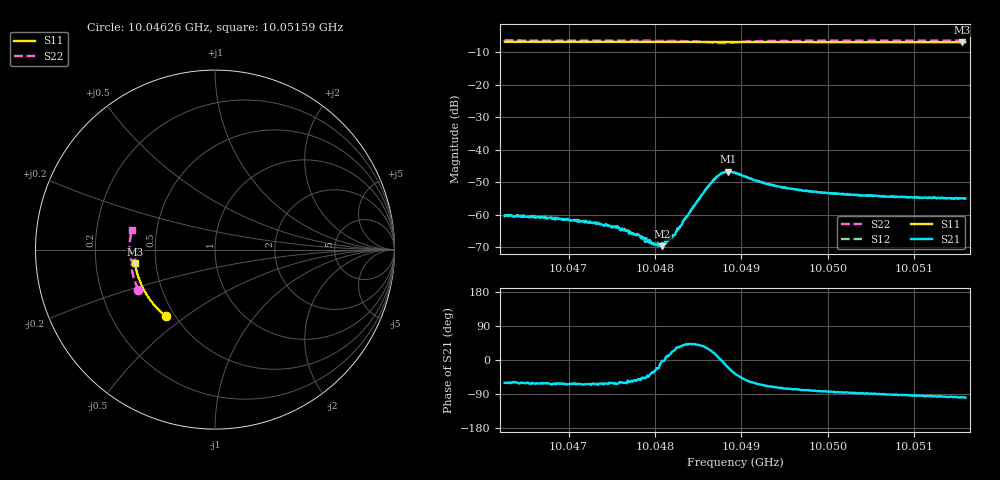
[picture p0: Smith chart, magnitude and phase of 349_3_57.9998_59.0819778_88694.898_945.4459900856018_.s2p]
#  HZ  S  RI  R  50.00
! Rohde & Schwarz Vector Network Analyzer
! Rohde-Schwarz,ZNB20-2Port,1311601062101988,3.16
! Created: UTC 3/21/2024, 1:05:57 AM
! freq[Hz]  re:S11  im:S11  re:S21  im:S21  re:S12  im:S12  re:S22  im:S22
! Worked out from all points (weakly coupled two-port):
!   401 points, 10.04626 GHz to 10.05159 GHz, reference 50 ohm
!   highest |S21| = -46.78 dB at 10.04885 GHz (marker M1); lowest = -69.7 dB at 10.04809 GHz (marker M2)
!   lowest |S11| = -6.9 dB at 10.05155 GHz (marker M3), VSWR 2.65, Z = 19 - j3.81 ohm
!   |S11| at or under -10 dB: nowhere
!   |S22| runs from -7.2 to -6.4 dB; largest |S21 - S12| = 0.00036
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1.0046258e10  -0.2722 -0.3726  0.000474 -0.000826  0.000595 -0.000825  -0.4266 -0.2229
1.0046672e10  -0.2932 -0.3551  0.000418 -0.000801  0.000497 -0.000778  -0.4381 -0.1977
1.0047152e10  -0.3163 -0.3333  0.000349 -0.000717  0.000417 -0.000681  -0.4495 -0.1672
1.0047552e10  -0.3343 -0.3139  0.000286 -0.000576  0.000345 -0.000558  -0.4574 -0.1405
1.0047805e10  -0.3451 -0.3012  0.000318 -0.000383  0.000314 -0.000357  -0.4613 -0.1225
1.0047978e10  -0.3521 -0.2922  0.000303 -0.000206  0.000322 -0.000175  -0.4634 -0.1098
1.0048045e10  -0.3549 -0.2889  0.000311 -0.000117  0.000335 -8.87e-05  -0.464 -0.1046
1.0048085e10  -0.3565 -0.2866  0.000328 -1.11e-05  0.00037 -3.37e-05  -0.4643 -0.1015
1.0048138e10  -0.3585 -0.2839  0.000391 7.54e-05  0.000369 7.04e-05  -0.4646 -0.0974
1.0048218e10  -0.3617 -0.2796  0.000439 0.000202  0.00044 0.000241  -0.4645 -0.0907
1.0048298e10  -0.3647 -0.2753  0.000552 0.000394  0.000536 0.000436  -0.4642 -0.0837
1.0048445e10  -0.3702 -0.2673  0.000985 0.000897  0.000973 0.000954  -0.4608 -0.0703
1.0048658e10  -0.3779 -0.2556  0.00296 0.00122  0.00289 0.00139  -0.4432 -0.0562
1.0048752e10  -0.3809 -0.2504  0.00416 0.000189  0.00415 0.000485  -0.4335 -0.0617
1.0048845e10  -0.3842 -0.2454  0.00431 -0.00155  0.00441 -0.0013  -0.4353 -0.0728
1.0048925e10  -0.3867 -0.241  0.00356 -0.00261  0.00376 -0.0024  -0.4444 -0.0765
1.0049312e10  -0.3993 -0.2189  0.00105 -0.00275  0.00124 -0.00272  -0.4705 -0.0493
1.0049818e10  -0.4135 -0.1887  0.000358 -0.00225  0.000499 -0.00223  -0.4765 -0.0103
1.0050218e10  -0.4231 -0.1643  0.000178 -0.00208  0.000254 -0.00202  -0.4765 0.0181
1.0050712e10  -0.4331 -0.1336  -2.94e-05 -0.00189  6.37e-05 -0.00192  -0.4739 0.0516
1.0051552e10  -0.4447 -0.0798  -0.000255 -0.00178  -0.000155 -0.00176  -0.4642 0.1068
1.0051592e10  -0.4453 -0.0774  -0.00029 -0.00175  -0.000165 -0.00178  -0.4636 0.1096
